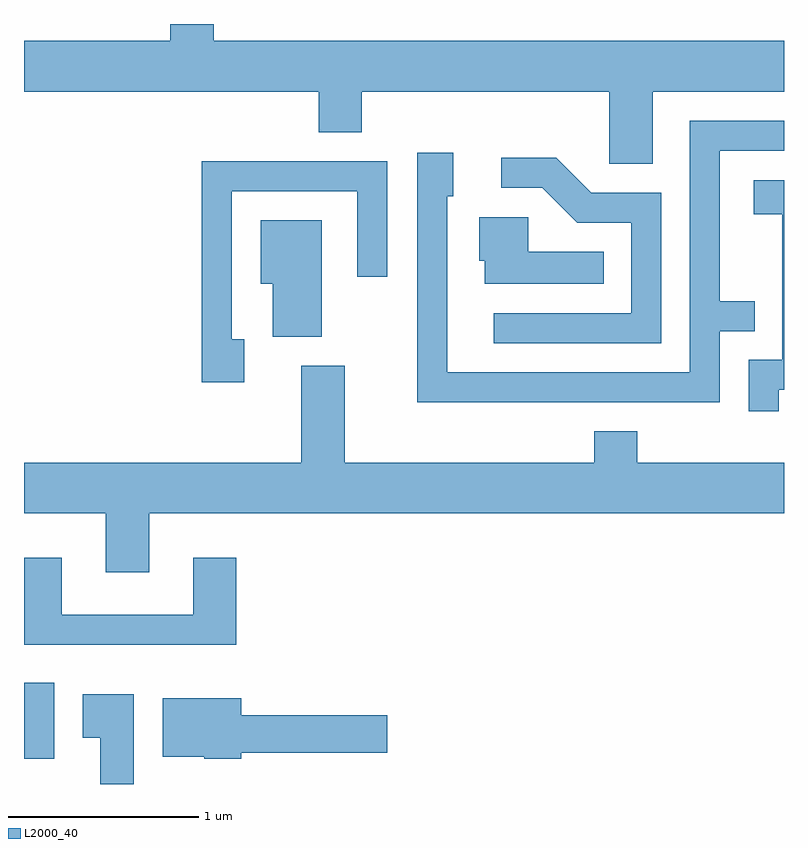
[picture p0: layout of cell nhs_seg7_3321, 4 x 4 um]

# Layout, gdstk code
import gdstk
lib = gdstk.Library(unit=1e-6, precision=1e-09)
def R(c, l, rs):  # rectangles x0, y0, x1, y1
    for r in rs: c.add(gdstk.rectangle(r[:2], r[2:], *l))
def P(c, l, *ps):  # polygons
    for p in ps: c.add(gdstk.Polygon(p, *l))
L2000_40 = (2000, 40)

nhs_seg7_3321 = lib.new_cell('nhs_seg7_3321')
R(nhs_seg7_3321, L2000_40, [(287.611,1686.386,287.769,1686.784)])
P(nhs_seg7_3321, L2000_40, [(290.919,1689.896),(291.611,1689.896),(291.611,1690.164),(288.609,1690.164),(288.609,1690.252),(288.381,1690.252),(288.381,1690.164),(287.611,1690.164),(287.611,1689.896),(289.161,1689.896),(289.161,1689.681),(289.389,1689.681),(289.389,1689.896),(290.691,1689.896),(290.691,1689.516),(290.919,1689.516)],
  [(291.274,1688.636),(291.458,1688.636),(291.458,1688.794),(291.274,1688.794),(291.274,1689.586),(291.611,1689.586),(291.611,1689.744),(291.116,1689.744),(291.116,1688.419),(289.839,1688.419),(289.839,1689.346),(289.869,1689.346),(289.869,1689.574),(289.681,1689.574),(289.681,1688.261),(291.274,1688.261)],
  [(290.964,1689.364),(290.597,1689.364),(290.412,1689.549),(290.123,1689.549),(290.123,1689.391),(290.339,1689.391),(290.524,1689.206),(290.806,1689.206),(290.806,1688.729),(290.083,1688.729),(290.083,1688.571),(290.964,1688.571)],
  [(288.769,1688.594),(288.704,1688.594),(288.704,1689.371),(289.366,1689.371),(289.366,1688.923),(289.524,1688.923),(289.524,1689.529),(288.546,1689.529),(288.546,1688.366),(288.769,1688.366)],
  [(291.584,1688.326),(291.611,1688.326),(291.611,1689.429),(291.451,1689.429),(291.451,1689.251),(291.601,1689.251),(291.601,1688.484),(291.426,1688.484),(291.426,1688.213),(291.584,1688.213)],
  [(290.663,1689.054),(290.264,1689.054),(290.264,1689.234),(290.006,1689.234),(290.006,1689.006),(290.036,1689.006),(290.036,1688.886),(290.663,1688.886)],
  [(289.179,1689.219),(288.856,1689.219),(288.856,1688.886),(288.921,1688.886),(288.921,1688.606),(289.179,1688.606)],
  [(288.269,1687.676),(291.611,1687.676),(291.611,1687.944),(290.839,1687.944),(290.839,1688.109),(290.611,1688.109),(290.611,1687.944),(289.299,1687.944),(289.299,1688.454),(289.071,1688.454),(289.071,1687.944),(287.611,1687.944),(287.611,1687.676),(288.041,1687.676),(288.041,1687.366),(288.269,1687.366)],
  [(288.729,1687.444),(288.501,1687.444),(288.501,1687.144),(287.809,1687.144),(287.809,1687.444),(287.611,1687.444),(287.611,1686.986),(288.729,1686.986)],
  [(288.189,1686.724),(287.921,1686.724),(287.921,1686.496),(288.011,1686.496),(288.011,1686.252),(288.189,1686.252)],
  [(288.754,1686.416),(289.524,1686.416),(289.524,1686.614),(288.754,1686.614),(288.754,1686.704),(288.341,1686.704),(288.341,1686.396),(288.56,1686.396),(288.56,1686.386),(288.754,1686.386)])

lib.write_gds('nhs_seg7_3321.gds')
